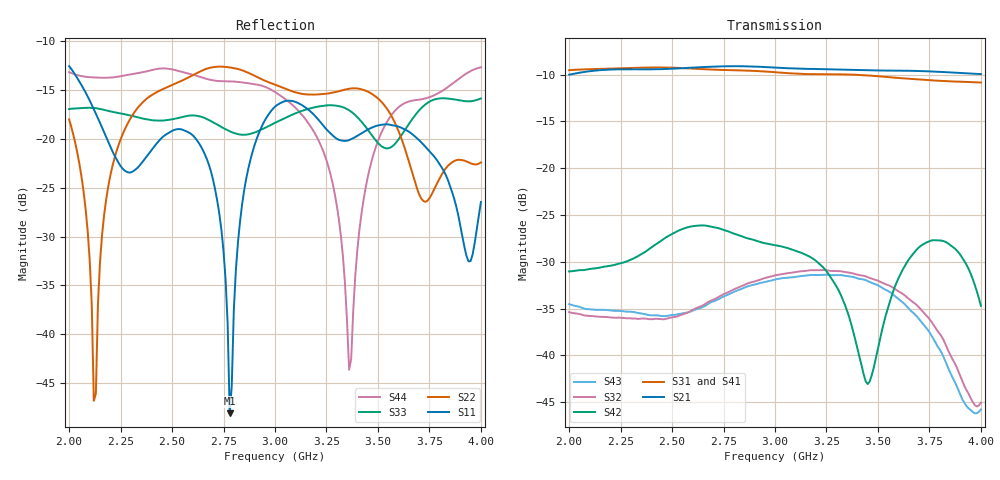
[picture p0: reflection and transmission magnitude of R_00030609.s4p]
!Agilent Technologies,N5224A,MY51441093,A.09.90.21
!Agilent N5224A: A.09.90.21
!Date: Friday, December 19, 2025 16:46:26
!Correction: S11(Full 4 Port(1,2,3,4))
!S12(Full 4 Port(1,2,3,4))
!S13(Full 4 Port(1,2,3,4))
!S14(Full 4 Port(1,2,3,4))
!S21(Full 4 Port(1,2,3,4))
!S22(Full 4 Port(1,2,3,4))
!S23(Full 4 Port(1,2,3,4))
!S24(Full 4 Port(1,2,3,4))
!S31(Full 4 Port(1,2,3,4))
!S32(Full 4 Port(1,2,3,4))
!S33(Full 4 Port(1,2,3,4))
!S34(Full 4 Port(1,2,3,4))
!S41(Full 4 Port(1,2,3,4))
!S42(Full 4 Port(1,2,3,4))
!S43(Full 4 Port(1,2,3,4))
!S44(Full 4 Port(1,2,3,4))
!S4P File: Measurements: <S11,S12,S13,S14>,
!<S21,S22,S23,S24>,
!<S31,S32,S33,S34>,
!<S41,S42,S43,S44>:
# Hz S  dB  R 50
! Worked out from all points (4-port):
!   201 points, 2 GHz to 4 GHz, reference 50 ohm
!   strongest paths, dB at 2 GHz, 2.5 GHz, 3 GHz, 3.5 GHz, 4 GHz:
!     S21: -10.0, -9.4, -9.3, -9.6, -10.0
!     S31: -9.5, -9.3, -9.7, -10.2, -10.8
!     S41: -9.2, -9.2, -9.9, -10.3, -11.2
!     S42: -31.0, -27.0, -28.2, -39.3, -34.7
!     S32: -35.4, -35.9, -31.4, -32.0, -45.0
!     S43: -34.5, -35.7, -31.9, -32.5, -45.8
!   lowest |S11| = -48.1 dB at 2.78 GHz (marker M1), VSWR 1.01, Z = 49.6 + j0.0142 ohm
!   |S11| at or under -10 dB: start of sweep to end of sweep
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2e9  -12.55 -49.5  -9.98 103.0  -9.48 -143.9  -9.30 143.6
     -10.01 103.0  -18.00 154.6  -35.33 151.6  -31.16 62.2
     -9.53 -143.7  -35.37 151.7  -16.94 -29.9  -34.68 -168.9
     -9.18 143.8  -31.02 62.5  -34.51 -168.9  -13.17 -65.3
2.12e9  -16.97 -78.1  -9.56 34.0  -9.36 154.6  -9.15 84.0
        -9.59 34.0  -46.81 106.6  -35.76 22.1  -30.85 -25.0
        -9.41 154.7  -35.82 22.3  -16.83 -74.9  -35.28 71.8
        -9.03 84.2  -30.71 -24.7  -35.11 71.7  -13.71 -90.5
2.66e9  -21.62 -108.4  -9.15 106.9  -9.37 -119.7  -9.47 175.6
        -9.19 106.8  -12.87 172.8  -34.48 -132.0  -26.26 -33.1
        -9.44 -119.6  -34.52 -131.8  -17.87 162.8  -34.89 -63.2
        -9.36 175.7  -26.12 -32.9  -34.71 -63.2  -13.81 154.8
2.78e9  -48.09 177.9  -9.06 45.5  -9.45 -179.5  -9.61 115.8
        -9.11 45.4  -12.68 147.2  -33.14 122.9  -26.95 -105.0
        -9.53 -179.4  -33.17 123.0  -19.21 145.2  -33.58 -166.8
        -9.51 115.9  -26.81 -104.8  -33.43 -166.9  -14.11 134.1
2.93e9  -18.99 -18.3  -9.12 -30.6  -9.57 105.2  -9.85 41.6
        -9.17 -30.7  -13.84 121.0  -31.85 -9.6  -28.03 175.8
        -9.64 105.4  -31.90 -9.4  -19.08 137.1  -32.42 62.9
        -9.76 41.8  -27.89 176.0  -32.25 62.9  -14.51 102.0
3.36e9  -20.12 -95.5  -9.46 118.8  -9.91 -107.9  -10.08 -172.4
        -9.50 118.8  -14.87 75.1  -31.11 -25.8  -35.97 -46.2
        -9.99 -107.6  -31.15 -25.4  -17.07 71.6  -31.68 43.4
        -10.02 -172.3  -35.88 -45.8  -31.54 43.3  -43.63 56.3
4e9  -26.46 5.7  -9.90 170.0  -10.76 -65.0  -11.27 -134.9
     -9.95 170.2  -22.41 72.5  -45.02 45.2  -34.76 63.0
     -10.85 -64.4  -45.03 45.5  -15.85 28.2  -45.86 96.1
     -11.24 -134.2  -34.70 63.5  -45.77 96.1  -12.66 18.5
